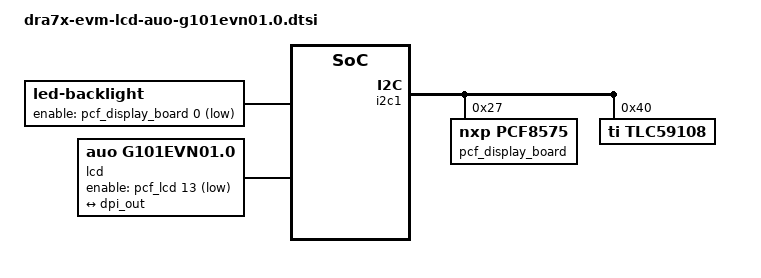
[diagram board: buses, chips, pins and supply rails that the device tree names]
/*
 * Copyright (C) 2016 Texas Instruments Incorporated - http://www.ti.com/
 *
 * This program is free software; you can redistribute it and/or modify
 * it under the terms of the GNU General Public License version 2 as
 * published by the Free Software Foundation.
 *
 * Display panel details:
 * The base display is Apollo UP-02-096.
 * http://store.apollodisplays.com/store/Resources/en/ItemDocuments/UP_02_096/UP-02-096_Datasheet.pdf
 */

/ {
	aliases {
		display0 = &lcd;
		display1 = &hdmi0;
	};

	backlight {
		compatible = "led-backlight";
		leds = <&backlight_led>;
		brightness-levels = <0 2 38 74 110 146 182 218 255>;
		default-brightness-level = <8>;

		enable-gpios = <&pcf_display_board 0 GPIO_ACTIVE_LOW>;
	};

	lcd: display {
		compatible = "auo,g101evn01.0", "panel-dpi";

		enable-gpios = <&pcf_lcd 13 GPIO_ACTIVE_LOW>; /* P15, CON_LCD_PWR_DN */

		label = "lcd";

		panel-timing {
			clock-frequency = <68930000>;
			hactive = <1280>;
			vactive = <800>;

			hfront-porch = <48>;
			hsync-len = <32>;
			hback-porch = <48>;

			vfront-porch = <4>;
			vsync-len = <4>;
			vback-porch = <8>;

			hsync-active = <0>;
			vsync-active = <0>;
			de-active = <1>;
			pixelclk-active = <1>;
		};

		port {
			lcd_in: endpoint {
				remote-endpoint = <&dpi_out>;
			};
		};
	};
};

&i2c1 {
	pcf_display_board: gpio@27 {
		compatible = "nxp,pcf8575";
		reg = <0x27>;
		gpio-controller;
		#gpio-cells = <2>;
	};

	/* TLC chip for LCD panel power and backlight */
	tlc59108@40 {
		#address-cells = <1>;
		#size-cells = <0>;
		compatible = "ti,tlc59108";
		reg = <0x40>;

		backlight_led: bl@2 {
			label = "backlight";
			reg = <0x2>;
		};
	};
};

&dss {
	ports {
		#address-cells = <1>;
		#size-cells = <0>;

		dss_port: port {
			dpi_out: endpoint {
				remote-endpoint = <&lcd_in>;
				data-lines = <24>;
			};
		};
	};
};
